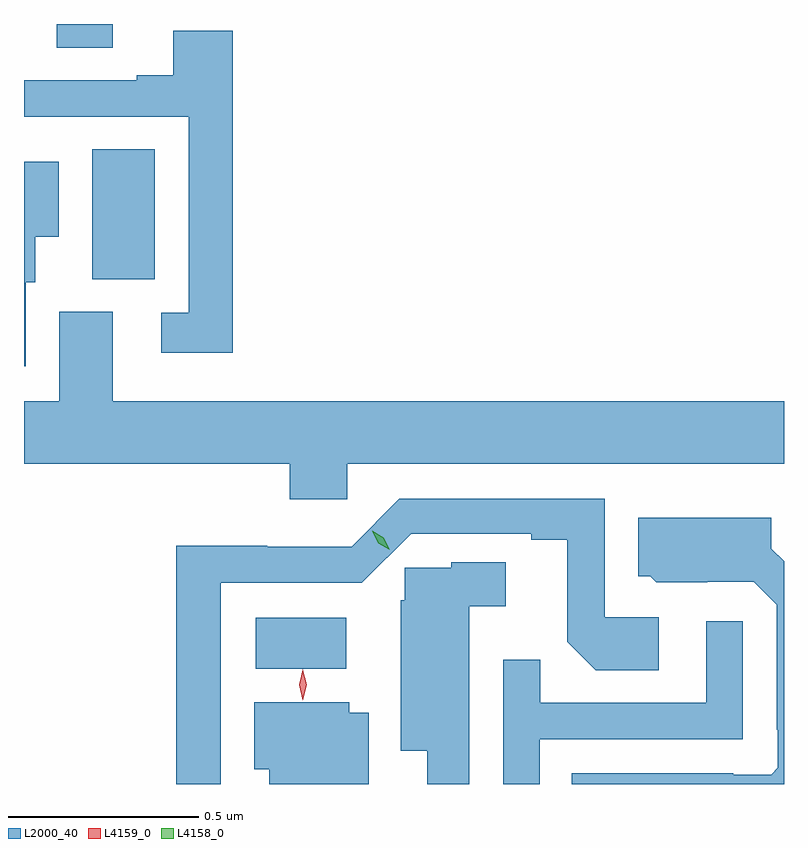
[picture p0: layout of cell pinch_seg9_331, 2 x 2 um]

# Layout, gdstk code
import gdstk
lib = gdstk.Library(unit=1e-6, precision=1e-09)
def R(c, l, rs):  # rectangles x0, y0, x1, y1
    for r in rs: c.add(gdstk.rectangle(r[:2], r[2:], *l))
def P(c, l, *ps):  # polygons
    for p in ps: c.add(gdstk.Polygon(p, *l))
L2000_40 = (2000, 40)
L4158_0 = (4158, 0)
L4159_0 = (4159, 0)

pinch_seg9_331 = lib.new_cell('pinch_seg9_331')
R(pinch_seg9_331, L2000_40, [(639.984,1175.9,640.222,1176.034), (639.554,1176.925,639.718,1177.268), (639.46,1177.534,639.607,1177.597)])
P(pinch_seg9_331, L2000_40, [(639.923,1177.579),(639.767,1177.579),(639.767,1177.462),(639.671,1177.462),(639.671,1177.449),(639.374,1177.449),(639.374,1177.353),(639.807,1177.353),(639.807,1176.837),(639.735,1176.837),(639.735,1176.732),(639.923,1176.732)],
  [(639.378,1176.918),(639.403,1176.918),(639.403,1177.037),(639.466,1177.037),(639.466,1177.234),(639.374,1177.234),(639.374,1176.696),(639.378,1176.696)],
  [(640.224,1176.44),(641.374,1176.44),(641.374,1176.604),(639.607,1176.604),(639.607,1176.84),(639.467,1176.84),(639.467,1176.604),(639.374,1176.604),(639.374,1176.44),(640.073,1176.44),(640.073,1176.347),(640.224,1176.347)],
  [(639.892,1176.126),(640.263,1176.126),(640.393,1176.256),(640.709,1176.256),(640.709,1176.24),(640.803,1176.24),(640.803,1175.972),(640.879,1175.896),(641.044,1175.896),(641.044,1176.036),(640.902,1176.036),(640.902,1176.348),(640.362,1176.348),(640.236,1176.222),(640.014,1176.222),(640.014,1176.224),(639.774,1176.224),(639.774,1175.597),(639.892,1175.597)],
  [(641.374,1176.183),(641.341,1176.216),(641.341,1176.298),(640.991,1176.298),(640.991,1176.144),(641.022,1176.144),(641.038,1176.128),(641.172,1176.128),(641.172,1176.129),(641.295,1176.129),(641.355,1176.069),(641.355,1175.74),(641.358,1175.74),(641.358,1175.64),(641.34,1175.622),(641.24,1175.622),(641.24,1175.625),(640.816,1175.625),(640.816,1175.597),(641.374,1175.597)],
  [(640.546,1176.065),(640.642,1176.065),(640.642,1176.18),(640.498,1176.18),(640.498,1176.166),(640.376,1176.166),(640.376,1176.081),(640.366,1176.081),(640.366,1175.684),(640.435,1175.684),(640.435,1175.597),(640.546,1175.597)],
  [(640.731,1175.715),(641.265,1175.715),(641.265,1176.025),(641.169,1176.025),(641.169,1175.811),(640.733,1175.811),(640.733,1175.924),(640.635,1175.924),(640.635,1175.597),(640.731,1175.597)],
  [(640.281,1175.785),(640.23,1175.785),(640.23,1175.812),(639.98,1175.812),(639.98,1175.636),(640.019,1175.636),(640.019,1175.597),(640.281,1175.597)])
P(pinch_seg9_331, L4158_0, [(640.336,1176.213),(640.306,1176.231),(640.29,1176.263),(640.29,1176.263),(640.291,1176.263),(640.321,1176.245),(640.336,1176.213),(640.336,1176.213)])
P(pinch_seg9_331, L4159_0, [(640.107,1175.817),(640.098,1175.858),(640.108,1175.898),(640.108,1175.899),(640.108,1175.898),(640.118,1175.858),(640.108,1175.817),(640.108,1175.817)])

lib.write_gds('pinch_seg9_331.gds')
